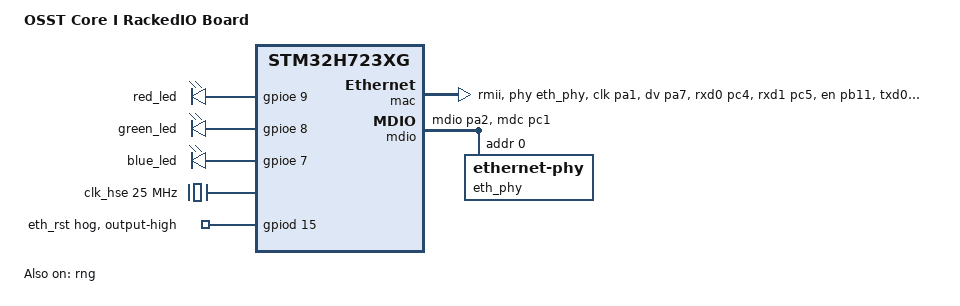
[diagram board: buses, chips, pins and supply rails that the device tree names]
/dts-v1/;
#include <st/h7/stm32h723Xg.dtsi>
#include <st/h7/stm32h723vgtx-pinctrl.dtsi>

/ {
	model = "OSST Core I RackedIO Board";
	compatible = "corei,rackedio";

	chosen {
		zephyr,dtcm = &dtcm;
		zephyr,sram = &sram0;
		zephyr,flash = &flash0;
	};

	leds: leds {
		compatible = "gpio-leds";

		red_led: rled {
			gpios = <&gpioe 9 GPIO_ACTIVE_HIGH>;
		};

		green_led: gled {
			gpios = <&gpioe 8 GPIO_ACTIVE_HIGH>;
		};

		blue_led: bled {
			gpios = <&gpioe 7 GPIO_ACTIVE_HIGH>;
		};
	};

	preamps: preamps {
		compatible = "preamp";

		pre1: pre1 {
			b0 = <&gpioe 2 GPIO_ACTIVE_HIGH>;
			b1 = <&gpioe 6 GPIO_ACTIVE_HIGH>;
			phantom = <&gpioc 13 GPIO_ACTIVE_HIGH>;
		};

		pre2: pre2 {
			b0 = <&gpioe 4 GPIO_ACTIVE_HIGH>;
			b1 = <&gpioe 3 GPIO_ACTIVE_HIGH>;
			phantom = <&gpioe 5 GPIO_ACTIVE_HIGH>;
		};
	};

	aliases {
		ledr = &red_led;
		ledg = &green_led;
		ledb = &blue_led;
		i2s1-rx = &i2s1;
		pre1 = &pre1;
		pre2 = &pre2;
	};
};

&clk_hsi48 {
	status = "okay";
};

&clk_hse {
	clock-frequency = <DT_FREQ_M(25)>;
	status = "okay";
};

&pll {
	div-m = <5>;
	mul-n = <100>;
	div-p = <1>;
	div-q = <2>;
	div-r = <2>;
	clocks = <&clk_hse>;
	status = "okay";
};

&rcc {
	clocks = <&pll>;
	clock-frequency = <DT_FREQ_M(500)>;
	d1cpre = <1>;
	hpre = <2>;    /* HCLK: 250   MHz */
	d1ppre = <2>;  /* APB1: 137.5 MHz */
	d2ppre1 = <2>; /* APB2: 137.5 MHz */
	d2ppre2 = <2>; /* APB3: 137.5 MHz */
	d3ppre = <2>;  /* APB4: 137.5 MHz */
};

&pwr {
	power-supply = "ldo";
};

&gpiod {
	eth_rst {
		gpio-hog;
		gpios = <15 GPIO_ACTIVE_HIGH>;
		output-high;
	};
};

&mac {
	status = "okay";
	pinctrl-0 = <&eth_ref_clk_pa1
	             &eth_crs_dv_pa7
	             &eth_rxd0_pc4
	             &eth_rxd1_pc5
	             &eth_tx_en_pb11
	             &eth_txd0_pb12
	             &eth_txd1_pb13>;
	pinctrl-names = "default";
	phy-connection-type = "rmii";
	phy-handle = <&eth_phy>;
};

&mdio {
	status = "okay";
	pinctrl-0 = <&eth_mdio_pa2 &eth_mdc_pc1>;
	pinctrl-names = "default";

	eth_phy: ethernet-phy@0 {
		compatible = "ethernet-phy";
		reg = <0>;
	};
};

&rng {
	status = "okay";
};
